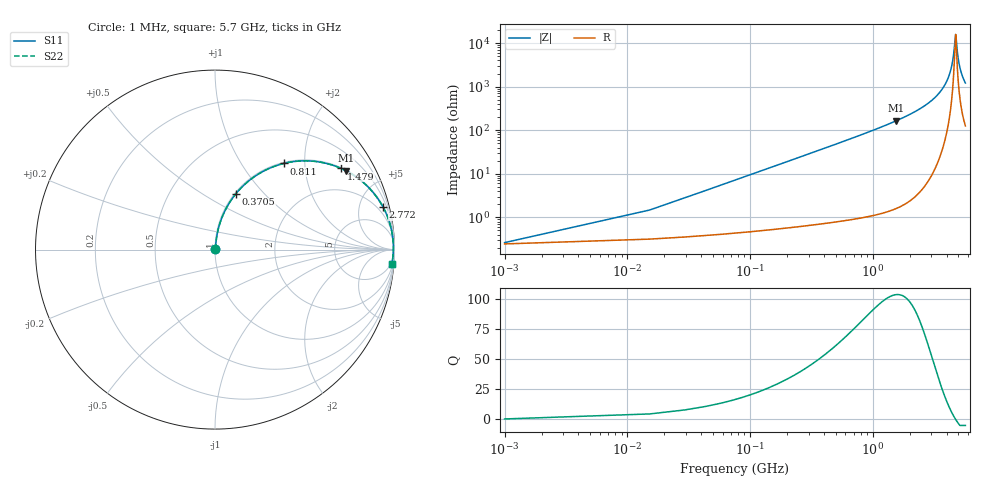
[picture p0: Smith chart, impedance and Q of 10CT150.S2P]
! Coilcraft 1008CT-150 Chip Inductor
! 17 July 2002
# MHZ S MA R 50
!Freq  MagS11  AngS11  MagS21  AngS21  MagS12  AngS12  MagS22  AngS22
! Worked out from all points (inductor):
!   403 points, 1 MHz to 5.7 GHz, reference 50 ohm
!   read as one part in series: L = 15 nH near 29.42 MHz
!   highest Q = 103 at 1.564 GHz (marker M1), where L = 16.8 nH
!   self-resonance near 4.733 GHz
!   S11 on the Smith chart (normalised r, x): 1 MHz: 1.00, +0.00; 370.5 MHz: 1.01, +0.70; 811 MHz: 1.02, +1.57; 1.479 GHz: 1.03, +3.09; 2.772 GHz: 1.12, +7.93; 5.7 GHz: 4, -24
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1  0.002613 21.0  0.9976 -0.1  0.9976 -0.1  0.002613 21.0
43.63  0.04111 82.4  0.9954 -2.3  0.9954 -2.3  0.04111 82.4
72.05  0.06761 82.5  0.9935 -3.9  0.9935 -3.9  0.06761 82.5
100.47  0.09399 81.8  0.991 -5.4  0.991 -5.4  0.09399 81.8
199.94  0.1846 77.7  0.9773 -10.6  0.9773 -10.6  0.1846 77.7
370.46  0.3295 69.6  0.9377 -19.2  0.9377 -19.2  0.3295 69.6
810.97  0.615 51.4  0.781 -37.9  0.781 -37.9  0.615 51.4
953.07  0.6796 46.5  0.726 -42.8  0.726 -42.8  0.6796 46.5
1478.84  0.8356 32.8  0.5413 -56.7  0.5413 -56.7  0.8356 32.8
1564.1  0.8521 31.0  0.5152 -58.4  0.5152 -58.4  0.8521 31.0
1905.14  0.9026 24.9  0.4216 -64.5  0.4216 -64.5  0.9026 24.9
2771.95  0.9661 14.1  0.2436 -75.0  0.2436 -75.0  0.9661 14.1
2857.21  0.9695 13.3  0.2295 -75.8  0.2295 -75.8  0.9695 13.3
3809.28  0.9905 5.6  0.09826 -81.6  0.09826 -81.6  0.9905 5.6
4391.89  0.9938 2.0  0.03497 -78.8  0.03497 -78.8  0.9938 2.0
4562.41  0.9939 1.0  0.01855 -70.3  0.01855 -70.3  0.9939 1.0
4718.72  0.9938 0.1  0.006766 -22.5  0.006766 -22.5  0.9938 0.1
4761.35  0.9937 -0.1  0.00648 12.3  0.00648 12.3  0.9937 -0.1
4931.87  0.9932 -1.0  0.01827 67.6  0.01827 67.6  0.9932 -1.0
5088.18  0.9925 -1.8  0.03164 75.4  0.03164 75.4  0.9925 -1.8
5343.96  0.991 -3.0  0.05316 78.8  0.05316 78.8  0.991 -3.0
5700  0.9882 -4.7  0.0817 79.4  0.0817 79.4  0.9882 -4.7
